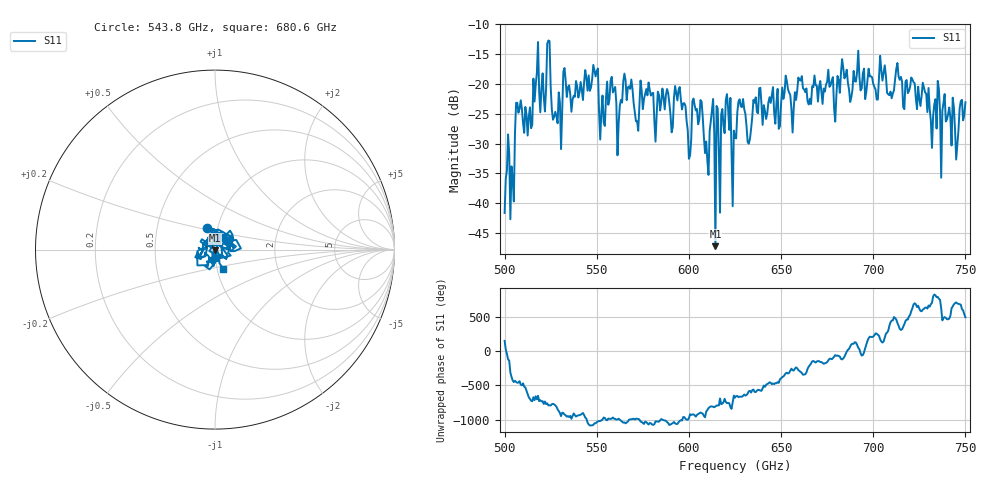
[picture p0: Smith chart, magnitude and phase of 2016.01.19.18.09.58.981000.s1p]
!Created with skrf (http://scikit-rf.org).
# GHz S RI R 50.0
!freq ReS11 ImS11
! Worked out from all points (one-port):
!   401 points, 500 GHz to 750 GHz, reference 50 ohm
!   lowest |S11| = -47.2 dB at 614.4 GHz (marker M1), VSWR 1.01, Z = 50 - j0.435 ohm
!   |S11| at or under -10 dB: start of sweep to end of sweep
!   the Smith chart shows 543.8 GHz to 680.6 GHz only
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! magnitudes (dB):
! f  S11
! 500 GHz  -41.7
! 504.4 GHz  -35.9
! 507.5 GHz  -24.8
! 513.8 GHz  -23.9
! 516.9 GHz  -20.1
! 531.2 GHz  -24.6
! 549.4 GHz  -18.7
! 553.1 GHz  -21.9
! 558.8 GHz  -21.4
! 562.5 GHz  -23.6
! 565.6 GHz  -19.4
! 571.9 GHz  -26.2
! 593.8 GHz  -22.8
! 600 GHz  -32.6
! 603.1 GHz  -23.6
! 609.4 GHz  -29.7
! 614.4 GHz  -47.2
! 615.6 GHz  -24.1
! 621.2 GHz  -24.0
! 625 GHz  -29.0
! 628.1 GHz  -23.7
! 632.5 GHz  -30.0
! 637.5 GHz  -24.9
! 656.2 GHz  -28.1
! 687.5 GHz  -23.0
! 718.8 GHz  -21.5
! 745 GHz  -32.7
! 750 GHz  -23.1
